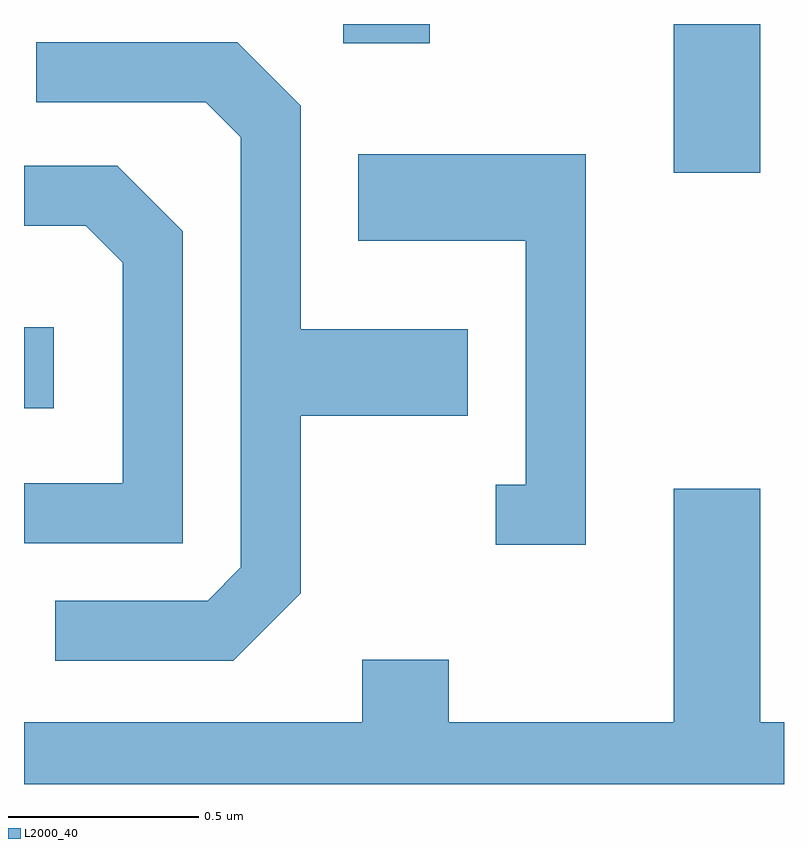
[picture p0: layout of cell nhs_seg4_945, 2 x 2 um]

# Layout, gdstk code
import gdstk
lib = gdstk.Library(unit=1e-6, precision=1e-09)
def R(c, l, rs):  # rectangles x0, y0, x1, y1
    for r in rs: c.add(gdstk.rectangle(r[:2], r[2:], *l))
def P(c, l, *ps):  # polygons
    for p in ps: c.add(gdstk.Polygon(p, *l))
L2000_40 = (2000, 40)

nhs_seg4_945 = lib.new_cell('nhs_seg4_945')
R(nhs_seg4_945, L2000_40, [(191.611,1377.971,191.689,1378.184), (193.321,1378.591,193.549,1378.982), (192.451,1378.931,192.679,1378.982)])
P(nhs_seg4_945, L2000_40, [(192.339,1377.484),(192.339,1377.951),(192.779,1377.951),(192.779,1378.179),(192.339,1378.179),(192.339,1378.767),(192.172,1378.934),(191.643,1378.934),(191.643,1378.776),(192.089,1378.776),(192.181,1378.684),(192.181,1377.552),(192.094,1377.464),(191.693,1377.464),(191.693,1377.306),(192.162,1377.306)],
  [(193.089,1378.639),(192.491,1378.639),(192.491,1378.411),(192.931,1378.411),(192.931,1377.769),(192.853,1377.769),(192.853,1377.611),(193.089,1377.611)],
  [(192.029,1378.437),(191.857,1378.609),(191.611,1378.609),(191.611,1378.451),(191.774,1378.451),(191.871,1378.354),(191.871,1377.774),(191.611,1377.774),(191.611,1377.616),(192.029,1377.616)],
  [(193.611,1377.144),(193.549,1377.144),(193.549,1377.759),(193.321,1377.759),(193.321,1377.144),(192.729,1377.144),(192.729,1377.309),(192.501,1377.309),(192.501,1377.144),(191.611,1377.144),(191.611,1376.982),(193.611,1376.982)])

lib.write_gds('nhs_seg4_945.gds')
